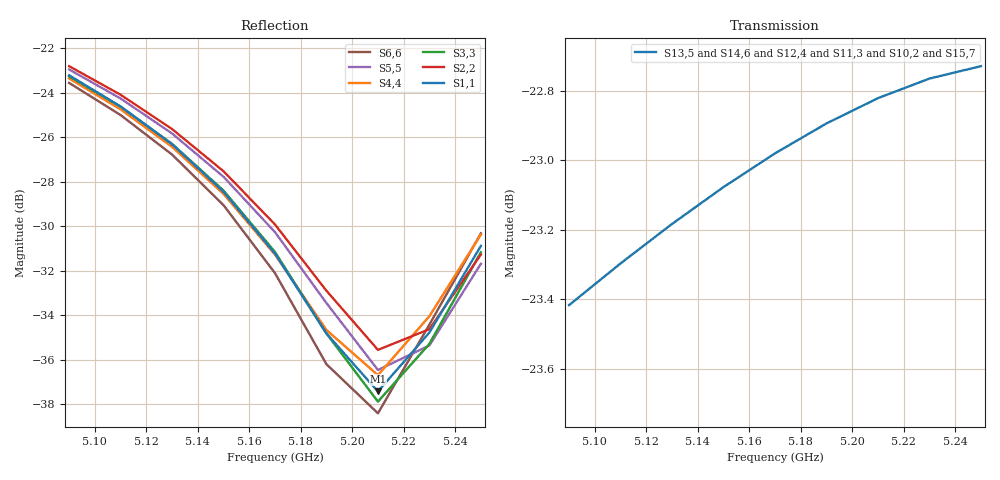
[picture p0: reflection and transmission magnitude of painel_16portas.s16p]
! Touchstone file exported from HFSS 2024.2.0
!  File:  D:/dev/EMBRAER/P1H/Painel_8X/P1H_8X_FEM.aedt
!  Generated:  12:27:19 PM Nov  6, 2026
!  Design:  Synth_DipoleArray
!  Project:  P1H_8X_FEM
!  Setup:  Setup_Multiband
!  Solution:  Banda_20MHz
! Variables:
!  E001_element_z = 16.61mm
!  array_P1H_band_start = 5090MHz
!  array_P1H_band_stop = 5250MHz
!  array_P1H_element_z = 16.61mm
!  array_P1H_geometry_revision = 1
!  array_P1H_pcb_thickness = 0.76mm
!  array_P1H_polarization_scale_A = 1.0124
!  array_P1H_polarization_scale_B = 1.0007
!  array_P1H_reference_frequency = 5170MHz
!  array_P1H_reflector_spacing = 16.61mm
!  array_P1H_ring_opening_scale = 1
!  array_P1H_xy_scale = 0.755
!  array_element_plane_z = 16.61mm
!  array_has_B1 = 0
!  array_has_P1 = 0
!  array_has_P1H = 1
!  array_has_R1 = 0
!  array_has_Y1 = 0
!  array_model_count = 1
!  array_pcb_thickness = 0.76mm
!  array_reflector_height = 36mm
!  array_reflector_spacing = 16.61mm
!  array_reflector_width = 48.3125mm
!  array_reflector_z = 0mm
# GHz S RI R 50.000000
! Terminal data exported
! Port[1] = E016_PA
! Port[2] = E016_PA1
! Port[3] = E016_PA2
! Port[4] = E016_PA3
! Port[5] = E016_PA4
! Port[6] = E016_PA5
! Port[7] = E016_PA6
! Port[8] = E016_PA7
! Port[9] = E016_PB
! Port[10] = E016_PB1
! Port[11] = E016_PB2
! Port[12] = E016_PB3
! Port[13] = E016_PB4
! Port[14] = E016_PB5
! Port[15] = E016_PB6
! Port[16] = E016_PB7
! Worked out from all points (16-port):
!   9 points, 5.09 GHz to 5.25 GHz, reference 50 ohm
!   strongest paths, dB at 5.09 GHz, 5.13 GHz, 5.17 GHz, 5.21 GHz, 5.25 GHz:
!     S13,5: -23.4, -23.2, -23.0, -22.8, -22.7
!     S14,6: -23.6, -23.4, -23.2, -23.0, -22.9
!     S12,4: -23.7, -23.4, -23.2, -23.1, -23.0
!     S11,3: -23.7, -23.4, -23.2, -23.1, -23.0
!     S10,2: -23.7, -23.5, -23.2, -23.1, -23.0
!     S15,7: -23.8, -23.5, -23.3, -23.2, -23.1
!   lowest |S11| = -37.4 dB at 5.21 GHz (marker M1), VSWR 1.03, Z = 49.2 + j1.03 ohm
!   |S11| at or under -10 dB: start of sweep to end of sweep
